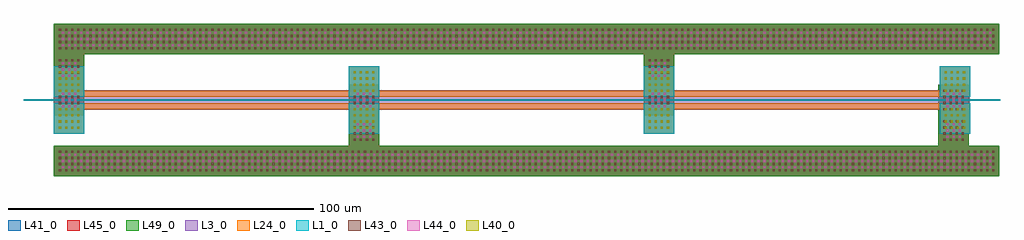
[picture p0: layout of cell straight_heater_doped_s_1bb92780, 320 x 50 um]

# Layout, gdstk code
import gdstk
lib = gdstk.Library(unit=1e-6, precision=1e-09)
def R(c, l, rs):  # rectangles x0, y0, x1, y1
    for r in rs: c.add(gdstk.rectangle(r[:2], r[2:], *l))
def A(c, l, x, y, w, h, nx, ny, dx, dy):  # array of equal rectangles
    R(c, l, [(x+i*dx, y+j*dy, x+i*dx+w, y+j*dy+h) for i in range(nx) for j in range(ny)])
def P(c, l, *ps):  # polygons
    for p in ps: c.add(gdstk.Polygon(p, *l))
L1_0 = (1, 0)
L3_0 = (3, 0)
L24_0 = (24, 0)
L40_0 = (40, 0)
L41_0 = (41, 0)
L43_0 = (43, 0)
L44_0 = (44, 0)
L45_0 = (45, 0)
L49_0 = (49, 0)

straight_heater_doped_s_ = lib.new_cell('straight_heater_doped_s_1bb92780')
A(straight_heater_doped_s_, L1_0, -0.2, -11.05, 10, 10, 3, 2, 96.667, 12.1)
R(straight_heater_doped_s_, L1_0, [(290.201,-11.05,300.201,-1.05), (-10,-0.25,310,0.25), (290.201,1.05,300.201,11.05)])
R(straight_heater_doped_s_, L3_0, [(0,-3.25,300,3.25)])
P(straight_heater_doped_s_, L24_0, [(-0.2,-11.05),(-0.2,-1.05),(300.201,-1.05),(300.201,-11.05),(290.201,-11.05),(290.201,-3.05),(203.134,-3.05),(203.134,-11.05),(193.134,-11.05),(193.134,-3.05),(106.467,-3.05),(106.467,-11.05),(96.467,-11.05),(96.467,-3.05),(9.8,-3.05),(9.8,-11.05)],
  [(-0.2,1.05),(-0.2,11.05),(9.8,11.05),(9.8,3.05),(96.467,3.05),(96.467,11.05),(106.467,11.05),(106.467,3.05),(193.134,3.05),(193.134,11.05),(203.134,11.05),(203.134,3.05),(290.201,3.05),(290.201,11.05),(300.201,11.05),(300.201,1.05)])
A(straight_heater_doped_s_, L40_0, 1.45, -9.4, 0.7, 0.7, 4, 4, 2, 2)
A(straight_heater_doped_s_, L40_0, 98.117, -9.4, 0.7, 0.7, 4, 4, 2, 2)
A(straight_heater_doped_s_, L40_0, 194.784, -9.4, 0.7, 0.7, 4, 4, 2, 2)
A(straight_heater_doped_s_, L40_0, 291.851, -9.4, 0.7, 0.7, 4, 4, 2, 2)
A(straight_heater_doped_s_, L40_0, 1.45, 2.7, 0.7, 0.7, 4, 4, 2, 2)
A(straight_heater_doped_s_, L40_0, 98.117, 2.7, 0.7, 0.7, 4, 4, 2, 2)
A(straight_heater_doped_s_, L40_0, 194.784, 2.7, 0.7, 0.7, 4, 4, 2, 2)
A(straight_heater_doped_s_, L40_0, 291.851, 2.7, 0.7, 0.7, 4, 4, 2, 2)
P(straight_heater_doped_s_, L41_0, [(-0.2,-25),(-0.2,-15),(96.467,-15),(96.467,11.05),(106.467,11.05),(106.467,-15),(289.801,-15),(289.801,5),(290.201,5),(290.201,11.05),(300.201,11.05),(300.201,1.05),(299.801,1.05),(299.801,-1.05),(300.201,-1.05),(300.201,-11.05),(299.801,-11.05),(299.801,-15),(309.8,-15),(309.8,-25)],
  [(-0.2,-11.05),(-0.2,25),(309.8,25),(309.8,15),(203.134,15),(203.134,-11.05),(193.134,-11.05),(193.134,15),(9.8,15),(9.8,-11.05)])
A(straight_heater_doped_s_, L43_0, 1.45, -23.35, 0.7, 0.7, 154, 4, 2, 2)
A(straight_heater_doped_s_, L43_0, 98.117, -13.35, 0.7, 0.7, 4, 4, 2, 2)
A(straight_heater_doped_s_, L43_0, 291.451, -13.35, 0.7, 0.7, 4, 4, 2, 2)
A(straight_heater_doped_s_, L43_0, 1.45, -3.35, 0.7, 0.7, 4, 4, 2, 2)
A(straight_heater_doped_s_, L43_0, 98.117, -3.35, 0.7, 0.7, 4, 4, 2, 2)
A(straight_heater_doped_s_, L43_0, 194.784, -3.35, 0.7, 0.7, 4, 4, 2, 2)
A(straight_heater_doped_s_, L43_0, 291.451, -3.35, 0.7, 0.7, 4, 4, 2, 2)
A(straight_heater_doped_s_, L43_0, 1.45, 6.65, 0.7, 0.7, 4, 4, 2, 2)
A(straight_heater_doped_s_, L43_0, 194.784, 6.65, 0.7, 0.7, 4, 4, 2, 2)
A(straight_heater_doped_s_, L43_0, 1.45, 16.65, 0.7, 0.7, 154, 4, 2, 2)
A(straight_heater_doped_s_, L44_0, 2.45, -22.35, 0.7, 0.7, 153, 3, 2, 2)
A(straight_heater_doped_s_, L44_0, 99.117, -12.35, 0.7, 0.7, 3, 3, 2, 2)
A(straight_heater_doped_s_, L44_0, 292.451, -12.35, 0.7, 0.7, 3, 3, 2, 2)
A(straight_heater_doped_s_, L44_0, 2.45, -2.35, 0.7, 0.7, 3, 3, 2, 2)
A(straight_heater_doped_s_, L44_0, 99.117, -2.35, 0.7, 0.7, 3, 3, 2, 2)
A(straight_heater_doped_s_, L44_0, 195.784, -2.35, 0.7, 0.7, 3, 3, 2, 2)
A(straight_heater_doped_s_, L44_0, 292.451, -2.35, 0.7, 0.7, 3, 3, 2, 2)
A(straight_heater_doped_s_, L44_0, 2.45, 7.65, 0.7, 0.7, 3, 3, 2, 2)
A(straight_heater_doped_s_, L44_0, 195.784, 7.65, 0.7, 0.7, 3, 3, 2, 2)
A(straight_heater_doped_s_, L44_0, 2.45, 17.65, 0.7, 0.7, 153, 3, 2, 2)
P(straight_heater_doped_s_, L45_0, [(-0.2,-25),(-0.2,-15),(96.467,-15),(96.467,5),(106.467,5),(106.467,-15),(289.801,-15),(289.801,5),(299.801,5),(299.801,-15),(309.8,-15),(309.8,-25)],
  [(-0.2,-5),(-0.2,25),(309.8,25),(309.8,15),(203.134,15),(203.134,-5),(193.134,-5),(193.134,15),(9.8,15),(9.8,-5)])
P(straight_heater_doped_s_, L49_0, [(-0.2,-25),(-0.2,-15),(96.467,-15),(96.467,5),(106.467,5),(106.467,-15),(289.801,-15),(289.801,5),(299.801,5),(299.801,-15),(309.8,-15),(309.8,-25)],
  [(-0.2,-5),(-0.2,25),(309.8,25),(309.8,15),(203.134,15),(203.134,-5),(193.134,-5),(193.134,15),(9.8,15),(9.8,-5)])

lib.write_gds('straight_heater_doped_s_1bb92780.gds')
